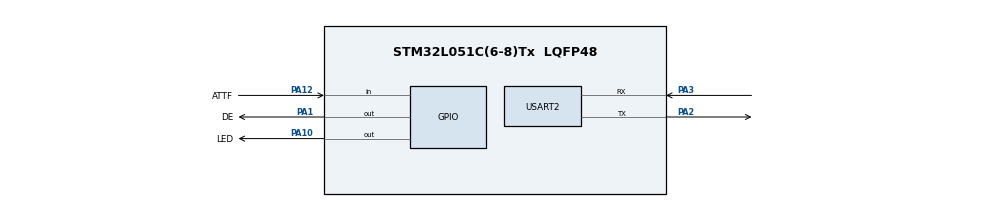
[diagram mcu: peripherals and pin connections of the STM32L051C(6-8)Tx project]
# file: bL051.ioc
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CRC.DefaultInitValueUse=DEFAULT_INIT_VALUE_DISABLE
CRC.DefaultPolynomialUse=DEFAULT_POLYNOMIAL_ENABLE
CRC.InitValue=0xffffffff
CRC.InputDataFormat=CRC_INPUTDATA_FORMAT_BYTES
CRC.InputDataInversionMode=CRC_INPUTDATA_INVERSION_BYTE
CRC.OutputDataInversionMode=CRC_OUTPUTDATA_INVERSION_ENABLE
IWDG.Prescaler=IWDG_PRESCALER_16
IWDG.Reload=2315
Mcu.Family=STM32L0
Mcu.Name=STM32L051C(6-8)Tx
Mcu.Package=LQFP48
PA1.GPIO_Label=DE
PA1.Signal=GPIO_Output
PA10.GPIO_Label=LED
PA10.Signal=GPIO_Output
PA12.GPIO_Label=ATTF
PA12.GPIO_PuPd=GPIO_PULLDOWN
PA12.Signal=GPIO_Input
PA13.Mode=Serial_Wire
PA13.Signal=SYS_SWDIO
PA14.Mode=Serial_Wire
PA14.Signal=SYS_SWCLK
PA2.GPIO_Speed=GPIO_SPEED_FREQ_LOW
PA2.Mode=Asynchronous
PA2.Signal=USART2_TX
PA3.GPIO_Speed=GPIO_SPEED_FREQ_LOW
PA3.Mode=Asynchronous
PA3.Signal=USART2_RX
ProjectManager.HeapSize=0x200
ProjectManager.StackSize=0x400
ProjectManager.TargetToolchain=STM32CubeIDE
RCC.AHBFreq_Value=24000000
RCC.APB1Freq_Value=24000000
RCC.APB1TimFreq_Value=24000000
RCC.APB2Freq_Value=24000000
RCC.APB2TimFreq_Value=24000000
RCC.HCLKFreq_Value=24000000
RCC.HSE_VALUE=8000000
RCC.HSI16_VALUE=16000000
RCC.HSI_VALUE=16000000
RCC.LSE_VALUE=32768
RCC.MSI_VALUE=2097000
RCC.SYSCLKFreq_VALUE=24000000
RCC.SYSCLKSource=RCC_SYSCLKSOURCE_PLLCLK
RCC.VCOOutputFreq_Value=48000000
USART2.OverrunDisableParam=ADVFEATURE_OVERRUN_DISABLE
USART2.VirtualMode-Asynchronous=VM_ASYNC
VP_CRC_VS_CRC.Mode=CRC_Activate
VP_IWDG_VS_IWDG.Mode=IWDG_Activate
board=custom

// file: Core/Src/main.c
/* USER CODE BEGIN Header */
/**
 ******************************************************************************
 * @file           : main.c
 * @brief          : Main program body
 ******************************************************************************
 * @attention
 *
 * Copyright (c) 2024 STMicroelectronics.
 * All rights reserved.
 *
 * This software is licensed under terms that can be found in the LICENSE file
 * in the root directory of this software component.
 * If no LICENSE file comes with this software, it is provided AS-IS.
 *
 ******************************************************************************
 */
/* USER CODE END Header */
#include "main.h"
#include "crc.h"
#include "usart.h"
#include "gpio.h"

/* USER CODE BEGIN Includes */
#include <stdint.h>
//#include <stdio.h>
#include <stdbool.h>
//#include <string.h>
#include "Uart.h"
#include "Flash.h"
#include "Rcc.h"
#include "Crc.h"
#include "Hal.h"
#include "Utils.h"

/* USER CODE END Includes */

/* USER CODE BEGIN PTD */
typedef struct {
	uint32_t v[0x10];
} uninitBuff_t;

/* USER CODE END PTD */

/* USER CODE BEGIN PV */

uninitBuff_t *uninit;
uint8_t hexLine[100];

/* USER CODE END PV */

void SystemClock_Config(void);

/* USER CODE BEGIN 0 */

// 	 uint32_t crcinv= crcres ^ 0xffffffff;
/* USER CODE END 0 */

int main(void) {

	/* USER CODE BEGIN 1 */
	// bootloader
	uint32_t resetFlags;
	char rbuff[15];
	bool correctCrc = false;
	/* USER CODE END 1 */

	/* MCU Configuration--------------------------------------------------------*/

	/* Reset of all peripherals, Initializes the Flash interface and the Systick. */

	halHAL_Init();

	/* Configure the system clock */
	SystemClock_Config();

	/* Initialize all configured peripherals */
	MX_GPIO_Init();
	MX_USART2_UART_Init();
	MX_CRC_Init();
	/* USER CODE BEGIN 2 */

	uninit = (uninitBuff_t*) 0x20000000;
	for (int i = 0; i < 4; i++) {
		uninit->v[i] = 0;
	}

	resetFlags = *(uint32_t*) 0x40021050;
	uninit->v[0] = resetFlags;
	RCC->CSR |= RCC_CSR_RMVF;
	uintToHex(resetFlags, rbuff, 0x0a);
	// uartSendResponse(rbuff);
	resetFlags = *(uint32_t*) 0x40021050;

	bool attf;
	bool app_maybe_present;
	app_maybe_present = *(uint32_t*) AppAddr ? true : false;
	uint32_t reg = GPIOA->IDR;

	if (app_maybe_present) {
		// 	 uint32_t crcres= HAL_CRC_Calculate(&hcrc, AppAddr,10384);
		// 	 uint32_t crcinv= crcres ^ 0xffffffff;
	}

	if ((GPIOA->IDR & ATTF_Pin) != (uint32_t) GPIO_PIN_RESET)
		attf = true;
	else
		attf = false;

	if (!attf && app_maybe_present) {
		HAL_UART_MspDeInit(&huart2);
		__disable_irq();
		start_application(AppAddr);
	}
		/* USER CODE END 2 */

		/* Infinite loop */
		/* USER CODE BEGIN WHILE */

		while (1) {
			int r;
			r = flashReadOneLine();
			r = flashDecodeLine();
			if (r == FLASH_FIN) {
				r = crcCalcCrc(&correctCrc);
			} else {
				r = flashWriteData();
			}
			uintToHex((uint32_t) r, rbuff, 0x0a);
			uartSendResponse(rbuff);
			/* USER CODE END WHILE */

		}
	}

	/**
	 * @brief System Clock Configuration
	 * @retval None
	 */
	void SystemClock_Config(void) {
		RCC_OscInitTypeDef RCC_OscInitStruct = { 0 };
		RCC_ClkInitTypeDef RCC_ClkInitStruct = { 0 };
		RCC_PeriphCLKInitTypeDef PeriphClkInit = { 0 };

		/** Configure the main internal regulator output voltage
		 */
		__HAL_PWR_VOLTAGESCALING_CONFIG(PWR_REGULATOR_VOLTAGE_SCALE1);

		/** Initializes the RCC Oscillators according to the specified parameters
		 * in the RCC_OscInitTypeDef structure.
		 */
		RCC_OscInitStruct.OscillatorType = RCC_OSCILLATORTYPE_HSI;
		RCC_OscInitStruct.HSIState = RCC_HSI_ON;
		RCC_OscInitStruct.HSICalibrationValue = RCC_HSICALIBRATION_DEFAULT;
		RCC_OscInitStruct.PLL.PLLState = RCC_PLL_ON;
		RCC_OscInitStruct.PLL.PLLSource = RCC_PLLSOURCE_HSI;
		RCC_OscInitStruct.PLL.PLLMUL = RCC_PLLMUL_3;
		RCC_OscInitStruct.PLL.PLLDIV = RCC_PLLDIV_2;
		if (rccHAL_RCC_OscConfig(&RCC_OscInitStruct) != HAL_OK) {
			Error_Handler();
		}

		/** Initializes the CPU, AHB and APB buses clocks
		 */
		RCC_ClkInitStruct.ClockType = RCC_CLOCKTYPE_HCLK | RCC_CLOCKTYPE_SYSCLK
				| RCC_CLOCKTYPE_PCLK1 | RCC_CLOCKTYPE_PCLK2;
		RCC_ClkInitStruct.SYSCLKSource = RCC_SYSCLKSOURCE_PLLCLK;
		RCC_ClkInitStruct.AHBCLKDivider = RCC_SYSCLK_DIV1;
		RCC_ClkInitStruct.APB1CLKDivider = RCC_HCLK_DIV1;
		RCC_ClkInitStruct.APB2CLKDivider = RCC_HCLK_DIV1;

		if (rccHAL_RCC_ClockConfig(&RCC_ClkInitStruct, FLASH_LATENCY_1)
				!= HAL_OK) {
			Error_Handler();
		}
		PeriphClkInit.PeriphClockSelection = RCC_PERIPHCLK_USART2;
		PeriphClkInit.Usart2ClockSelection = RCC_USART2CLKSOURCE_PCLK1;
		if (rccHAL_RCCEx_PeriphCLKConfig(&PeriphClkInit) != HAL_OK) {
			Error_Handler();
		}
	}

	/**
	 * @brief  This function is executed in case of error occurrence.
	 * @retval None
	 */
	void Error_Handler(void) {
		__disable_irq();
		while (1) {
		}
	}
